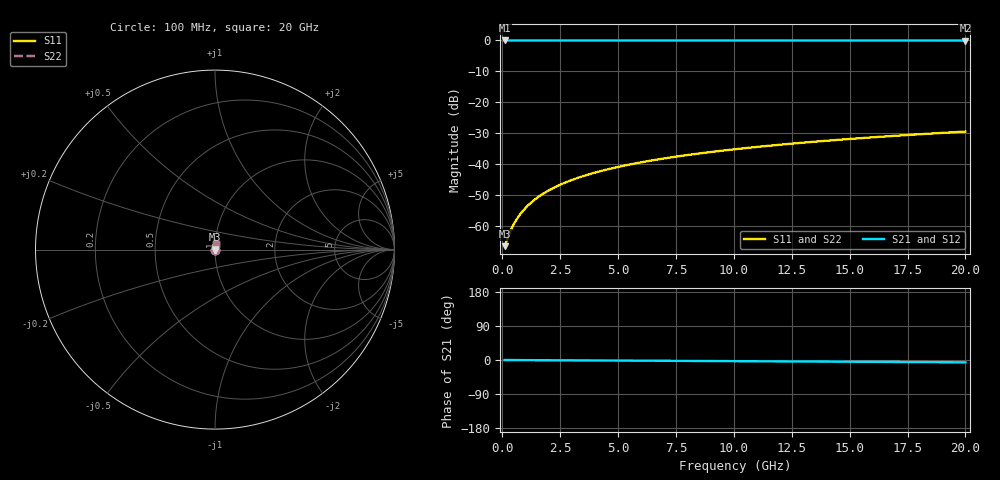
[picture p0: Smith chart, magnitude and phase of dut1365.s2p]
! Touchstone file exported from HFSS 2026.1.0
!  File:  C:/ffzhzh/LocalFiles/Ansys_Project_Files/temp_train_TSV_1365_1783196096_43440.aedt
!  Generated:  04:16:27 AM Jul  5, 2026
!  Design:  TSV
!  Project:  temp_train_TSV_1365_1783196096_43440
! Variables:
!  h_bsmrdl = 2um
!  h_ox = 20um
!  h_rdl = 5um
!  h_sub = 57.87um
!  h_tmrdl = 5um
!  h_tsv = 57.87um
!  h_via = 3um
!  l_bsmrdl = 300um
!  l_sub = 408.34um
!  l_tmrdl = 200um
!  m_sub = 200um
!  pitch = 26.28um
!  r_tsv = 4.17um
!  s_tmrdl = 10um
!  w_bsmrdl = 18um
!  w_sub = 500um
!  w_tmrdl = 12um
!  x_tsv_center1 = 206um
!  x_tsv_center2 = 524um
!  x_tsv_center3 = 736um
!  x_tsv_center4 = 1054um
!  x_tsv_center5 = 1266um
!  x_tsv_center6 = 1584um
# GHz S MA R 50.000000
! Terminal data exported
! Port[1] = TSV1_1_T1
! Port[2] = TSV1_1_T2
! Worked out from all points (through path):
!   200 points, 100 MHz to 20 GHz, reference 50 ohm
!   highest |S21| = 0.00 dB at 100 MHz (marker M1); lowest = 0.0 dB at 20 GHz (marker M2)
!   lowest |S11| = -66.7 dB at 100 MHz (marker M3), VSWR 1.00, Z = 50 + j0.0202 ohm
!   |S11| at or under -10 dB: start of sweep to end of sweep
!   |S22| runs from -66.7 to -29.5 dB; largest |S21 - S12| = 2.1e-15
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0.1  0.0004623 25.9  0.9996 -0.0  0.9996 -0.0  0.0004623 25.9
! Gamma 0 0 0 0
! Port Impedance 50 0 50 0
0.3  0.0007343 52.9  0.9996 -0.1  0.9996 -0.1  0.0007343 52.9
0.4  0.0008942 59.3  0.9995 -0.1  0.9995 -0.1  0.0008942 59.3
0.5  0.001059 63.8  0.9995 -0.2  0.9995 -0.2  0.001059 63.8
0.6  0.001227 67.1  0.9995 -0.2  0.9995 -0.2  0.001227 67.1
0.7  0.001398 69.6  0.9995 -0.2  0.9995 -0.2  0.001398 69.6
0.9  0.001745 73.2  0.9995 -0.3  0.9995 -0.3  0.001745 73.2
1.2  0.002273 76.5  0.9995 -0.4  0.9995 -0.4  0.002273 76.5
1.4  0.002629 77.9  0.9995 -0.4  0.9995 -0.4  0.002629 77.9
1.7  0.003163 79.4  0.9994 -0.5  0.9994 -0.5  0.003163 79.4
2.2  0.004052 80.8  0.9994 -0.7  0.9994 -0.7  0.004052 80.8
2.8  0.005112 81.7  0.9993 -0.9  0.9993 -0.9  0.005112 81.7
3.5  0.006335 82.2  0.9992 -1.1  0.9992 -1.1  0.006335 82.2
4.2  0.007541 82.4  0.9991 -1.3  0.9991 -1.3  0.007541 82.4
5  0.008903 82.5  0.999 -1.6  0.999 -1.6  0.008903 82.5
5.9  0.01042 82.6  0.9989 -1.8  0.9989 -1.8  0.01042 82.6
6.8  0.01191 82.6  0.9988 -2.1  0.9988 -2.1  0.01191 82.6
8.3  0.01439 82.5  0.9987 -2.6  0.9987 -2.6  0.01439 82.5
10.1  0.01733 82.3  0.9985 -3.1  0.9985 -3.1  0.01733 82.3
13.4  0.0227 81.9  0.9982 -4.1  0.9982 -4.1  0.0227 81.9
16.7  0.02804 81.3  0.9978 -5.1  0.9978 -5.1  0.02804 81.3
20  0.03335 80.6  0.9975 -6.1  0.9975 -6.1  0.03335 80.6
